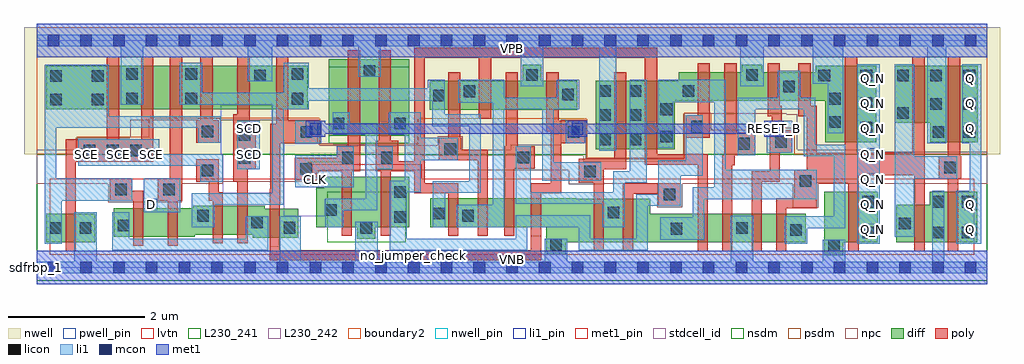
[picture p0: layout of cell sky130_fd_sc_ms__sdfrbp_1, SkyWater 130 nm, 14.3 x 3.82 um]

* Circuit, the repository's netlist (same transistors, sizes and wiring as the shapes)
* Copyright 2020 The SkyWater PDK Authors
*
* Licensed under the Apache License, Version 2.0 (the "License");
* you may not use this file except in compliance with the License.
* You may obtain a copy of the License at
*
*     https://www.apache.org/licenses/LICENSE-2.0
*
* Unless required by applicable law or agreed to in writing, software
* distributed under the License is distributed on an "AS IS" BASIS,
* WITHOUT WARRANTIES OR CONDITIONS OF ANY KIND, either express or implied.
* See the License for the specific language governing permissions and
* limitations under the License.
*
* SPDX-License-Identifier: Apache-2.0

.SUBCKT sky130_fd_sc_ms__sdfrbp_1 CLK D RESET_B SCD SCE VGND VNB VPB VPWR Q Q_N
*.PININFO CLK:I D:I RESET_B:I SCD:I SCE:I VGND:I VNB:I VPB:I VPWR:I
*.PININFO Q:O Q_N:O
MI642 clkneg CLK VGND VNB sky130_fd_pr__nfet_01v8_lvt m=1 w=0.74U l=0.15U mult=1
+ sa=0.265 sb=0.265 sd=0.28 area=0.063 perim=1.14
MI636 clkpos clkneg VGND VNB sky130_fd_pr__nfet_01v8_lvt m=1 w=0.74U l=0.15U mult=1
+ sa=0.265 sb=0.265 sd=0.28 area=0.063 perim=1.14
MI651 Q_N s0 VGND VNB sky130_fd_pr__nfet_01v8_lvt m=1 w=0.74U l=0.15U mult=1 sa=0.265
+ sb=0.265 sd=0.28 area=0.063 perim=1.14
MI42 db clkneg M0 VNB sky130_fd_pr__nfet_01v8_lvt m=1 w=0.42U l=0.15U mult=1 sa=0.265
+ sb=0.265 sd=0.28 area=0.063 perim=1.14
MI656 net138 s0 net100 VNB sky130_fd_pr__nfet_01v8_lvt m=1 w=0.42U l=0.15U mult=1
+ sa=0.265 sb=0.265 sd=0.28 area=0.063 perim=1.14
MI657 net100 RESET_B VGND VNB sky130_fd_pr__nfet_01v8_lvt m=1 w=0.42U l=0.15U mult=1
+ sa=0.265 sb=0.265 sd=0.28 area=0.063 perim=1.14
MI33 net109 RESET_B VGND VNB sky130_fd_pr__nfet_01v8_lvt m=1 w=0.42U l=0.15U mult=1
+ sa=0.265 sb=0.265 sd=0.28 area=0.063 perim=1.14
MI634 sceb SCE VGND VNB sky130_fd_pr__nfet_01v8_lvt m=1 w=0.42U l=0.15U mult=1
+ sa=0.265 sb=0.265 sd=0.28 area=0.063 perim=1.14
MI4 M0 clkpos net121 VNB sky130_fd_pr__nfet_01v8_lvt m=1 w=0.42U l=0.15U mult=1
+ sa=0.265 sb=0.265 sd=0.28 area=0.063 perim=1.14
MI34 net121 M1 net109 VNB sky130_fd_pr__nfet_01v8_lvt m=1 w=0.42U l=0.15U mult=1
+ sa=0.265 sb=0.265 sd=0.28 area=0.063 perim=1.14
MI655 s0 clkneg net124 VNB sky130_fd_pr__nfet_01v8_lvt m=1 w=0.42U l=0.15U mult=1
+ sa=0.265 sb=0.265 sd=0.28 area=0.063 perim=1.14
MI652 net209 s0 VGND VNB sky130_fd_pr__nfet_01v8_lvt m=1 w=0.55U l=0.15U mult=1
+ sa=0.265 sb=0.265 sd=0.28 area=0.063 perim=1.14
MI653 Q net209 VGND VNB sky130_fd_pr__nfet_01v8_lvt m=1 w=0.74U l=0.15U mult=1
+ sa=0.265 sb=0.265 sd=0.28 area=0.063 perim=1.14
MI654 net124 net138 VGND VNB sky130_fd_pr__nfet_01v8_lvt m=1 w=0.42U l=0.15U mult=1
+ sa=0.265 sb=0.265 sd=0.28 area=0.063 perim=1.14
MI647 M1 M0 VGND VNB sky130_fd_pr__nfet_01v8_lvt m=1 w=0.64U l=0.15U mult=1 sa=0.265
+ sb=0.265 sd=0.28 area=0.063 perim=1.14
MI649 M1 clkpos s0 VNB sky130_fd_pr__nfet_01v8_lvt m=1 w=0.64U l=0.15U mult=1 sa=0.265
+ sb=0.265 sd=0.28 area=0.063 perim=1.14
MI666 net164 RESET_B VGND VNB sky130_fd_pr__nfet_01v8_lvt m=1 w=0.42U l=0.15U mult=1
+ sa=0.265 sb=0.265 sd=0.28 area=0.525 perim=3.1
MI98 db D n0 VNB sky130_fd_pr__nfet_01v8_lvt m=1 w=0.42U l=0.15U mult=1 sa=0.265
+ sb=0.265 sd=0.28 area=0.525 perim=3.1
MI103 n1 SCD net164 VNB sky130_fd_pr__nfet_01v8_lvt m=1 w=0.42U l=0.15U mult=1
+ sa=0.265 sb=0.265 sd=0.28 area=0.525 perim=3.1
MI120 db SCE n1 VNB sky130_fd_pr__nfet_01v8_lvt m=1 w=0.42U l=0.15U mult=1 sa=0.265
+ sb=0.265 sd=0.28 area=0.525 perim=3.1
MI104 n0 sceb net164 VNB sky130_fd_pr__nfet_01v8_lvt m=1 w=0.42U l=0.15U mult=1
+ sa=0.265 sb=0.265 sd=0.28 area=0.525 perim=3.1
MI643 clkneg CLK VPWR VPB sky130_fd_pr__pfet_01v8 m=1 w=1.12U l=0.18U mult=1 sa=0.265
+ sb=0.265 sd=0.28 area=0.063 perim=1.14
MI635 clkpos clkneg VPWR VPB sky130_fd_pr__pfet_01v8 m=1 w=1.12U l=0.18U mult=1
+ sa=0.265 sb=0.265 sd=0.28 area=0.063 perim=1.14
MI43 db clkpos M0 VPB sky130_fd_pr__pfet_01v8 m=1 w=0.42U l=0.18U mult=1 sa=0.265
+ sb=0.265 sd=0.28 area=0.063 perim=1.14
MI662 net181 net138 VPWR VPB sky130_fd_pr__pfet_01v8 m=1 w=0.42U l=0.18U mult=1
+ sa=0.265 sb=0.265 sd=0.28 area=0.063 perim=1.14
MI659 net138 RESET_B VPWR VPB sky130_fd_pr__pfet_01v8 m=1 w=0.42U l=0.18U mult=1
+ sa=0.265 sb=0.265 sd=0.28 area=0.063 perim=1.14
MI664 s0 clkpos net181 VPB sky130_fd_pr__pfet_01v8 m=1 w=0.42U l=0.18U mult=1 sa=0.265
+ sb=0.265 sd=0.28 area=0.063 perim=1.14
MI658 net138 s0 VPWR VPB sky130_fd_pr__pfet_01v8 m=1 w=0.42U l=0.18U mult=1 sa=0.265
+ sb=0.265 sd=0.28 area=0.063 perim=1.14
MI30 net200 M1 VPWR VPB sky130_fd_pr__pfet_01v8 m=1 w=0.42U l=0.18U mult=1 sa=0.265
+ sb=0.265 sd=0.28 area=0.063 perim=1.14
MI31 M0 clkneg net200 VPB sky130_fd_pr__pfet_01v8 m=1 w=0.42U l=0.18U mult=1 sa=0.265
+ sb=0.265 sd=0.28 area=0.063 perim=1.14
MI32 M0 RESET_B VPWR VPB sky130_fd_pr__pfet_01v8 m=1 w=0.42U l=0.18U mult=1 sa=0.265
+ sb=0.265 sd=0.28 area=0.063 perim=1.14
MI663 net209 s0 VPWR VPB sky130_fd_pr__pfet_01v8 m=1 w=0.84U l=0.18U mult=1 sa=0.265
+ sb=0.265 sd=0.28 area=0.063 perim=1.14
MI660 Q net209 VPWR VPB sky130_fd_pr__pfet_01v8 m=1 w=1.12U l=0.18U mult=1 sa=0.265
+ sb=0.265 sd=0.28 area=0.063 perim=1.14
MI661 Q_N s0 VPWR VPB sky130_fd_pr__pfet_01v8 m=1 w=1.12U l=0.18U mult=1 sa=0.265
+ sb=0.265 sd=0.28 area=0.063 perim=1.14
MI648 M1 M0 VPWR VPB sky130_fd_pr__pfet_01v8 m=1 w=1.0U l=0.18U mult=1 sa=0.265
+ sb=0.265 sd=0.28 area=0.063 perim=1.14
MI650 M1 clkneg s0 VPB sky130_fd_pr__pfet_01v8 m=1 w=1.0U l=0.18U mult=1 sa=0.265
+ sb=0.265 sd=0.28 area=0.063 perim=1.14
MI633 sceb SCE VPWR VPB sky130_fd_pr__pfet_01v8 m=1 w=0.64U l=0.18U mult=1 sa=0.265
+ sb=0.265 sd=0.28 area=0.063 perim=1.14
MI101 db sceb p1 VPB sky130_fd_pr__pfet_01v8 m=1 w=0.64U l=0.18U mult=1 sa=0.265
+ sb=0.265 sd=0.28 area=0.063 perim=1.14
MI107 p0 SCE VPWR VPB sky130_fd_pr__pfet_01v8 m=1 w=0.64U l=0.18U mult=1 sa=0.265
+ sb=0.265 sd=0.28 area=0.063 perim=1.14
MI94 db D p0 VPB sky130_fd_pr__pfet_01v8 m=1 w=0.64U l=0.18U mult=1 sa=0.265 sb=0.265
+ sd=0.28 area=0.063 perim=1.14
MI108 p1 SCD VPWR VPB sky130_fd_pr__pfet_01v8 m=1 w=0.64U l=0.18U mult=1 sa=0.265
+ sb=0.265 sd=0.28 area=0.063 perim=1.14
MI665 db RESET_B VPWR VPB sky130_fd_pr__pfet_01v8 m=1 w=0.64U l=0.18U mult=1 sa=0.265
+ sb=0.265 sd=0.28 area=0.063 perim=1.14
.ENDS sky130_fd_sc_ms__sdfrbp_1

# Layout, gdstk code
import gdstk
lib = gdstk.Library(unit=1e-6, precision=1e-09)
def R(c, l, rs):  # rectangles x0, y0, x1, y1
    for r in rs: c.add(gdstk.rectangle(r[:2], r[2:], *l))
def A(c, l, x, y, w, h, nx, ny, dx, dy):  # array of equal rectangles
    R(c, l, [(x+i*dx, y+j*dy, x+i*dx+w, y+j*dy+h) for i in range(nx) for j in range(ny)])
def P(c, l, *ps):  # polygons
    for p in ps: c.add(gdstk.Polygon(p, *l))
nwell_pin = (64, 16)
nwell = (64, 20)
diff = (65, 20)
poly = (66, 20)
licon = (66, 44)
li1_pin = (67, 16)
li1 = (67, 20)
mcon = (67, 44)
met1_pin = (68, 16)
met1 = (68, 20)
stdcell_id = (81, 4)
nsdm = (93, 44)
psdm = (94, 20)
npc = (95, 20)
pwell_pin = (122, 16)
lvtn = (125, 44)
L230_241 = (230, 241)
L230_242 = (230, 242)
boundary2 = (236, 0)

sky130_fd_sc_ms__sdfrbp_ = lib.new_cell('sky130_fd_sc_ms__sdfrbp_1')
R(sky130_fd_sc_ms__sdfrbp_, nwell_pin, [(0,3.085,13.92,3.33)])
P(sky130_fd_sc_ms__sdfrbp_, nwell, [(14.11,3.52),(-0.19,3.52),(-0.19,1.66),(4,1.66),(4,1.675),(5.645,1.675),(5.645,1.64),(8.005,1.64),(8.005,1.555),(9.515,1.555),(9.515,1.66),(14.11,1.66)])
R(sky130_fd_sc_ms__sdfrbp_, diff, [(0.135,0.37,0.855,0.79), (4.275,1.935,5.455,3.055), (0.135,2.32,3.965,2.96)])
P(sky130_fd_sc_ms__sdfrbp_, diff, [(3.825,0.86),(3.335,0.86),(3.335,0.905),(2.29,0.905),(2.29,0.87),(1.125,0.87),(1.125,0.45),(2.315,0.45),(2.315,0.485),(3.16,0.485),(3.16,0.44),(3.825,0.44)],
  [(13.785,2.96),(12.565,2.96),(12.565,2.12),(13.085,2.12),(13.085,1.84),(13.785,1.84)],
  [(5.455,1.335),(4.215,1.335),(4.215,1.17),(4.095,1.17),(4.095,0.595),(4.69,0.595),(4.69,0.42),(4.96,0.42),(4.96,0.595),(5.455,0.595)],
  [(13.78,1.11),(13.08,1.11),(13.08,0.92),(12.59,0.92),(12.59,0.37),(13.78,0.37)],
  [(7.915,2.735),(7.39,2.735),(7.39,2.97),(7.12,2.97),(7.12,2.735),(5.755,2.735),(5.755,2.315),(7.915,2.315)],
  [(11.265,0.79),(8.985,0.79),(8.985,1.01),(7.905,1.01),(7.905,1.015),(5.76,1.015),(5.76,0.595),(7.46,0.595),(7.46,0.195),(7.75,0.195),(7.75,0.37),(11.265,0.37)],
  [(12.295,2.96),(11.41,2.96),(11.41,2.865),(10.63,2.865),(10.63,2.97),(10.325,2.97),(10.325,2.865),(9.4,2.865),(9.4,2.735),(8.185,2.735),(8.185,1.735),(9.345,1.735),(9.345,2.445),(11.55,2.445),(11.55,1.84),(12.295,1.84)],
  [(12.32,1.11),(11.535,1.11),(11.535,0.18),(11.815,0.18),(11.815,0.37),(12.32,0.37)])
P(sky130_fd_sc_ms__sdfrbp_, poly, [(1.56,1.13),(1.395,1.13),(1.395,1.31),(1.065,1.31),(1.065,0.98),(1.41,0.98),(1.41,0.32),(1.56,0.32)],
  [(1.705,3.09),(1.525,3.09),(1.525,1.88),(1.205,1.88),(1.205,3.09),(1.025,3.09),(1.025,1.88),(0.42,1.88),(0.42,0.24),(0.57,0.24),(0.57,1.55),(1.705,1.55)],
  [(2.125,3.09),(1.945,3.09),(1.945,1.31),(1.77,1.31),(1.77,0.98),(1.915,0.98),(1.915,0.32),(2.065,0.32),(2.065,0.98),(2.125,0.98)],
  [(13.005,3.09),(12.825,3.09),(12.825,1.685),(12.015,1.685),(12.015,3.09),(11.835,3.09),(11.835,1.685),(11.425,1.685),(11.425,2.37),(11.335,2.37),(11.335,2.995),(11.155,2.995),(11.155,2.22),(11.275,2.22),(11.275,1.435),(11.095,1.435),(11.095,1.02),(10.83,1.02),(10.83,0.24),(10.98,0.24),(10.98,0.87),(11.425,0.87),(11.425,1.235),(11.89,1.235),(11.89,0.24),(12.04,0.24),(12.04,1.355),(12.855,1.355),(12.855,0.24),(13.005,0.24)],
  [(2.665,2.16),(2.575,2.16),(2.575,3.09),(2.395,3.09),(2.395,2.16),(2.335,2.16),(2.335,1.83),(2.665,1.83)],
  [(2.725,1.105),(2.665,1.105),(2.665,1.59),(2.335,1.59),(2.335,1.26),(2.515,1.26),(2.515,0.98),(2.575,0.98),(2.575,0.355),(2.725,0.355)],
  [(13.545,1.63),(13.525,1.63),(13.525,3.09),(13.345,3.09),(13.345,1.63),(13.215,1.63),(13.215,1.3),(13.345,1.3),(13.345,0.24),(13.495,0.24),(13.495,1.3),(13.545,1.3)],
  [(3.205,2.11),(3.115,2.11),(3.115,3.09),(2.935,3.09),(2.935,2.245),(2.875,2.245),(2.875,1.255),(2.935,1.255),(2.935,0.355),(3.085,0.355),(3.085,1.44),(3.205,1.44)],
  [(4.735,3.185),(4.555,3.185),(4.555,1.775),(4.395,1.775),(4.395,1.61),(3.775,1.61),(3.775,1.28),(4.105,1.28),(4.105,1.41),(4.465,1.41),(4.465,0.465),(4.615,0.465),(4.615,1.41),(4.735,1.41)],
  [(10.525,1.98),(10.25,1.98),(10.25,2.995),(10.07,2.995),(10.07,1.65),(10.04,1.65),(10.04,0.24),(10.19,0.24),(10.19,1.5),(10.22,1.5),(10.22,1.65),(10.525,1.65)],
  [(6.605,1.725),(6.22,1.725),(6.22,1.905),(6.205,1.905),(6.205,2.865),(6.025,2.865),(6.025,1.905),(5.89,1.905),(5.89,1.575),(6.455,1.575),(6.455,0.465),(6.605,0.465)],
  [(7.29,1.78),(7.045,1.78),(7.045,2.865),(6.865,2.865),(6.865,1.78),(6.845,1.78),(6.845,0.465),(6.995,0.465),(6.995,1.45),(7.29,1.45)],
  [(8.025,2.15),(7.645,2.15),(7.645,2.865),(7.465,2.865),(7.465,2),(7.53,2),(7.53,1.24),(7.235,1.24),(7.235,0.255),(3.56,0.255),(3.56,0.935),(3.565,0.935),(3.565,1.82),(4.115,1.82),(4.115,2.15),(3.685,2.15),(3.685,3.09),(3.505,3.09),(3.505,2.11),(3.415,2.11),(3.415,1.145),(3.41,1.145),(3.41,0.105),(7.385,0.105),(7.385,1.09),(7.68,1.09),(7.68,1.82),(8.025,1.82)],
  [(8.635,2.865),(8.455,2.865),(8.455,1.595),(7.94,1.595),(7.94,1.245),(8.155,1.245),(8.155,0.24),(8.305,0.24),(8.305,1.445),(8.635,1.445)],
  [(9.435,1.235),(8.585,1.235),(8.585,0.24),(8.735,0.24),(8.735,1.085),(9.105,1.085),(9.105,0.905),(9.435,0.905)],
  [(9.83,1.66),(9.085,1.66),(9.085,3.225),(5.53,3.225),(5.53,1.56),(5.295,1.56),(5.295,1.86),(5.185,1.86),(5.185,3.185),(5.005,3.185),(5.005,1.86),(4.965,1.86),(4.965,1.41),(5.035,1.41),(5.035,0.465),(5.185,0.465),(5.185,1.41),(5.53,1.41),(5.53,1.09),(6.025,1.09),(6.025,0.465),(6.175,0.465),(6.175,1.24),(5.68,1.24),(5.68,3.075),(6.475,3.075),(6.475,2.185),(6.655,2.185),(6.655,3.075),(8.905,3.075),(8.905,1.51),(9.68,1.51),(9.68,0.24),(9.83,0.24)],
  [(11.065,2.01),(10.915,2.01),(10.915,2.37),(10.885,2.37),(10.885,2.995),(10.705,2.995),(10.705,2.22),(10.765,2.22),(10.765,2.01),(10.735,2.01),(10.735,1.41),(10.47,1.41),(10.47,0.24),(10.62,0.24),(10.62,1.26),(10.885,1.26),(10.885,1.68),(11.065,1.68)],
  [(9.86,2.995),(9.68,2.995),(9.68,2.23),(9.505,2.23),(9.505,1.9),(9.86,1.9)])
A(sky130_fd_sc_ms__sdfrbp_, licon, 0.685, 1.63, 0.17, 0.17, 3, 1, 0.34, 0)
A(sky130_fd_sc_ms__sdfrbp_, licon, 8.235, 1.795, 0.17, 0.17, 1, 3, 0, 0.355)
A(sky130_fd_sc_ms__sdfrbp_, licon, 8.685, 1.795, 0.17, 0.17, 1, 3, 0, 0.355)
A(sky130_fd_sc_ms__sdfrbp_, licon, 12.605, 2.73, 0.17, 0.17, 3, 1, 0.485, 0)
R(sky130_fd_sc_ms__sdfrbp_, licon, [(11.59,0.24,11.76,0.41), (7.52,0.255,7.69,0.425), (12.095,0.43,12.265,0.6), (13.12,0.43,13.29,0.6), (13.55,0.43,13.72,0.6), (11.035,0.465,11.205,0.635), (9.285,0.485,9.455,0.655), (0.195,0.495,0.365,0.665), (0.625,0.495,0.795,0.665), (10.245,0.495,10.415,0.665), (3.615,0.5,3.785,0.67), (4.74,0.5,4.91,0.67), (1.185,0.535,1.355,0.705), (12.63,0.56,12.8,0.73), (3.14,0.58,3.31,0.75), (5.235,0.655,5.405,0.825), (2.35,0.675,2.52,0.845), (6.23,0.675,6.4,0.845), (5.8,0.71,5.97,0.88), (8.36,0.725,8.53,0.895), (4.225,0.76,4.395,0.93), (12.095,0.88,12.265,1.05), (13.12,0.88,13.29,1.05), (13.55,0.88,13.72,1.05), (9.185,0.985,9.355,1.155), (5.235,1.025,5.405,1.195), (1.145,1.06,1.315,1.23), (1.85,1.06,2.02,1.23), (11.175,1.185,11.345,1.355), (8.02,1.325,8.19,1.495), (2.415,1.34,2.585,1.51), (3.855,1.36,4.025,1.53), (13.295,1.38,13.465,1.55), (2.955,1.52,3.125,1.69), (4.475,1.525,4.645,1.695), (5.045,1.525,5.215,1.695), (7.04,1.53,7.21,1.7), (5.97,1.655,6.14,1.825), (10.275,1.73,10.445,1.9), (10.815,1.76,10.985,1.93), (9.135,1.835,9.305,2.005), (2.955,1.86,3.125,2.03), (3.865,1.9,4.035,2.07), (7.775,1.9,7.945,2.07), (13.125,1.9,13.295,2.07), (13.575,1.9,13.745,2.07), (2.415,1.91,2.585,2.08), (12.065,1.97,12.235,2.14), (9.585,1.98,9.755,2.15), (4.335,2.025,4.505,2.195), (5.235,2.025,5.405,2.195), (11.61,2.05,11.78,2.22), (12.605,2.18,12.775,2.35), (9.135,2.235,9.305,2.405), (13.09,2.315,13.26,2.485), (13.575,2.315,13.745,2.485), (12.065,2.33,12.235,2.5), (0.195,2.38,0.365,2.55), (0.805,2.38,0.975,2.55), (1.305,2.39,1.475,2.56), (2.175,2.39,2.345,2.56), (3.735,2.39,3.905,2.56), (11.61,2.39,11.78,2.56), (5.805,2.44,5.975,2.61), (7.695,2.45,7.865,2.62), (6.255,2.5,6.425,2.67), (9.46,2.505,9.63,2.675), (10.935,2.57,11.105,2.74), (0.195,2.725,0.365,2.895), (0.805,2.725,0.975,2.895), (3.18,2.73,3.35,2.9), (11.45,2.73,11.62,2.9), (12.065,2.73,12.235,2.9), (7.17,2.74,7.34,2.91), (10.39,2.74,10.56,2.91), (1.305,2.75,1.475,2.92), (2.175,2.75,2.345,2.92), (3.735,2.75,3.905,2.92), (4.785,2.795,4.955,2.965)])
A(sky130_fd_sc_ms__sdfrbp_, li1_pin, 12.155, 0.47, 0.17, 0.17, 1, 7, 0, 0.37)
A(sky130_fd_sc_ms__sdfrbp_, li1_pin, 0.635, 1.58, 0.17, 0.17, 3, 1, 0.48, 0)
A(sky130_fd_sc_ms__sdfrbp_, li1_pin, 13.595, 1.95, 0.17, 0.17, 1, 3, 0, 0.37)
R(sky130_fd_sc_ms__sdfrbp_, li1_pin, [(13.595,0.47,13.765,0.64), (1.595,0.84,1.765,1.01), (13.595,0.84,13.765,1.01), (3.995,1.21,4.165,1.38), (3.035,1.58,3.205,1.75), (3.035,1.95,3.205,2.12)])
R(sky130_fd_sc_ms__sdfrbp_, li1, [(12.015,0.35,12.345,2.98), (1.565,0.81,2.1,1.31), (2.935,1.44,3.265,2.15), (10.695,1.685,11.065,2.15), (3.785,1.82,4.165,2.15), (7.745,1.82,8.035,2.15)])
P(sky130_fd_sc_ms__sdfrbp_, li1, [(2.695,2.22),(1.055,2.22),(1.055,2.975),(0.115,2.975),(0.115,0.35),(0.365,0.35),(0.365,0.98),(1.395,0.98),(1.395,1.31),(0.285,1.31),(0.285,2.05),(2.365,2.05),(2.365,1.83),(2.695,1.83)],
  [(2.725,1.66),(1.795,1.66),(1.795,1.88),(0.605,1.88),(0.605,1.49),(2.395,1.49),(2.395,1.26),(2.725,1.26)],
  [(3.39,0.75),(3.06,0.75),(3.06,0.425),(1.355,0.425),(1.355,0.81),(1.105,0.81),(1.105,0.255),(3.39,0.255)],
  [(11.845,1.8),(11.405,1.8),(11.405,2.49),(11.185,2.49),(11.185,2.885),(10.855,2.885),(10.855,2.49),(10.265,2.49),(10.265,1.65),(10.525,1.65),(10.525,2.32),(11.235,2.32),(11.235,1.63),(11.675,1.63),(11.675,0.75),(10.955,0.75),(10.955,0.35),(11.285,0.35),(11.285,0.58),(11.845,0.58)],
  [(13.835,2.98),(13.555,2.98),(13.555,1.82),(13.665,1.82),(13.665,1.13),(13.47,1.13),(13.47,0.35),(13.835,0.35)],
  [(13.92,0.085),(13.29,0.085),(13.29,1.13),(13.12,1.13),(13.12,0.085),(11.84,0.085),(11.84,0.41),(11.51,0.41),(11.51,0.085),(10.495,0.085),(10.495,0.76),(10.165,0.76),(10.165,0.085),(7.77,0.085),(7.77,0.425),(7.44,0.425),(7.44,0.085),(4.99,0.085),(4.99,0.67),(4.66,0.67),(4.66,0.085),(3.865,0.085),(3.865,0.75),(3.56,0.75),(3.56,0.085),(0.875,0.085),(0.875,0.81),(0.545,0.81),(0.545,0.085),(0,0.085),(0,-0.085),(13.92,-0.085)],
  [(4.645,1.775),(4.395,1.775),(4.395,1.65),(3.785,1.65),(3.785,1.18),(4.645,1.18)],
  [(11.425,1.435),(10.095,1.435),(10.095,2.755),(9.105,2.755),(9.105,1.755),(9.325,1.755),(9.325,2.425),(9.925,2.425),(9.925,1.175),(9.605,1.175),(9.605,0.735),(9.135,0.735),(9.135,0.405),(9.775,0.405),(9.775,1.005),(11.425,1.005)],
  [(5.215,1.775),(4.985,1.775),(4.985,2.115),(4.585,2.115),(4.585,2.275),(4.335,2.275),(4.335,1.945),(4.815,1.945),(4.815,1.01),(4.225,1.01),(4.225,0.595),(4.49,0.595),(4.49,0.84),(4.985,0.84),(4.985,1.445),(5.215,1.445)],
  [(6.505,2.245),(5.975,2.245),(5.975,2.755),(5.725,2.755),(5.725,2.625),(3.985,2.625),(3.985,3),(3.615,3),(3.615,2.56),(2.425,2.56),(2.425,3),(2.095,3),(2.095,2.39),(3.445,2.39),(3.445,1.09),(2.27,1.09),(2.27,0.595),(2.6,0.595),(2.6,0.92),(3.615,0.92),(3.615,2.32),(3.985,2.32),(3.985,2.445),(5.79,2.445),(5.79,2.075),(6.335,2.075),(6.335,1.265),(5.8,1.265),(5.8,0.595),(5.98,0.595),(5.98,1.095),(6.505,1.095)],
  [(13.92,3.415),(0,3.415),(0,3.245),(1.225,3.245),(1.225,2.39),(1.555,2.39),(1.555,3.245),(3.085,3.245),(3.085,2.73),(3.445,2.73),(3.445,3.245),(4.705,3.245),(4.705,2.795),(5.035,2.795),(5.035,3.245),(7.09,3.245),(7.09,2.66),(7.42,2.66),(7.42,3.245),(8.235,3.245),(8.235,1.715),(8.485,1.715),(8.485,3.245),(10.305,3.245),(10.305,2.66),(10.65,2.66),(10.65,3.245),(11.37,3.245),(11.37,2.695),(11.585,2.695),(11.585,1.97),(11.815,1.97),(11.815,3.245),(13.045,3.245),(13.045,1.82),(13.325,1.82),(13.325,3.245),(13.92,3.245)],
  [(13.485,1.63),(12.855,1.63),(12.855,2.98),(12.57,2.98),(12.57,0.455),(12.855,0.455),(12.855,1.3),(13.485,1.3)],
  [(8.27,1.545),(7.575,1.545),(7.575,2.32),(7.945,2.32),(7.945,2.755),(7.615,2.755),(7.615,2.49),(6.845,2.49),(6.845,2.755),(6.175,2.755),(6.175,2.415),(6.675,2.415),(6.675,0.925),(6.15,0.925),(6.15,0.595),(6.845,0.595),(6.845,2.32),(7.405,2.32),(7.405,1.275),(8.27,1.275)],
  [(8.935,2.755),(8.685,2.755),(8.685,1.415),(8.44,1.415),(8.44,1.105),(7.235,1.105),(7.235,1.78),(7.015,1.78),(7.015,0.935),(8.28,0.935),(8.28,0.595),(8.61,0.595),(8.61,1.245),(8.935,1.245)],
  [(9.755,2.23),(9.505,2.23),(9.505,1.575),(9.105,1.575),(9.105,1.075),(8.78,1.075),(8.78,0.425),(8.11,0.425),(8.11,0.765),(7.015,0.765),(7.015,0.425),(5.42,0.425),(5.42,1.105),(5.62,1.105),(5.62,1.575),(6.165,1.575),(6.165,1.905),(5.62,1.905),(5.62,2.275),(5.155,2.275),(5.155,1.945),(5.385,1.945),(5.385,1.275),(5.17,1.275),(5.17,0.255),(7.185,0.255),(7.185,0.595),(7.94,0.595),(7.94,0.255),(8.95,0.255),(8.95,0.905),(9.435,0.905),(9.435,1.345),(9.755,1.345)])
A(sky130_fd_sc_ms__sdfrbp_, mcon, 0.155, -0.085, 0.17, 0.17, 29, 2, 0.48, 3.33)
R(sky130_fd_sc_ms__sdfrbp_, mcon, [(3.995,1.95,4.165,2.12), (7.835,1.95,8.005,2.12), (10.715,1.95,10.885,2.12)])
R(sky130_fd_sc_ms__sdfrbp_, met1_pin, [(0,0,13.92,0.245), (10.715,1.95,10.885,2.12), (0,3.085,13.92,3.33)])
R(sky130_fd_sc_ms__sdfrbp_, met1, [(0,-0.245,13.92,0.245), (0,3.085,13.92,3.575)])
P(sky130_fd_sc_ms__sdfrbp_, met1, [(10.945,2.15),(10.655,2.15),(10.655,2.105),(8.065,2.105),(8.065,2.15),(7.775,2.15),(7.775,2.105),(4.225,2.105),(4.225,2.15),(3.935,2.15),(3.935,1.92),(4.225,1.92),(4.225,1.965),(7.775,1.965),(7.775,1.92),(8.065,1.92),(8.065,1.965),(10.655,1.965),(10.655,1.92),(10.945,1.92)])
R(sky130_fd_sc_ms__sdfrbp_, stdcell_id, [(0,0,13.92,3.33)])
P(sky130_fd_sc_ms__sdfrbp_, nsdm, [(13.92,1.66),(9.475,1.66),(9.475,1.605),(8.055,1.605),(8.055,1.66),(0,1.66),(0,-0.19),(13.92,-0.19)])
P(sky130_fd_sc_ms__sdfrbp_, psdm, [(13.92,3.52),(0,3.52),(0,1.66),(0.575,1.66),(0.575,1.91),(1.645,1.91),(1.645,2.19),(4.145,2.19),(4.145,1.805),(5.585,1.805),(5.585,2.185),(8.055,2.185),(8.055,1.605),(9.475,1.605),(9.475,2.26),(9.875,2.26),(9.875,2.01),(10.705,2.01),(10.705,2.04),(11.095,2.04),(11.095,1.66),(13.92,1.66)])
P(sky130_fd_sc_ms__sdfrbp_, npc, [(13.92,1.7),(12.425,1.7),(12.425,1.73),(11.14,1.73),(11.14,2.245),(10.98,2.245),(10.98,2.265),(9.485,2.265),(9.485,1.595),(8.045,1.595),(8.045,2.17),(7.675,2.17),(7.675,1.8),(6.94,1.8),(6.94,1.73),(6.24,1.73),(6.24,1.925),(5.87,1.925),(5.87,1.795),(4.135,1.795),(4.135,2.17),(2.685,2.17),(2.685,2.19),(2.345,2.19),(2.345,2.165),(1.37,2.165),(1.37,1.9),(0.585,1.9),(0.585,1.73),(0,1.73),(0,1.23),(1.045,1.23),(1.045,0.96),(2.12,0.96),(2.12,1.23),(2.72,1.23),(2.72,1.26),(4.125,1.26),(4.125,1.425),(7.795,1.425),(7.795,1.225),(8.29,1.225),(8.29,1.23),(9.085,1.23),(9.085,0.885),(9.455,0.885),(9.455,1.23),(11.075,1.23),(11.075,0.88),(11.445,0.88),(11.445,1.23),(13.92,1.23)])
R(sky130_fd_sc_ms__sdfrbp_, pwell_pin, [(0,0,13.92,0.245)])
R(sky130_fd_sc_ms__sdfrbp_, lvtn, [(0.19,0.19,13.73,1.3), (4.035,1.17,5.635,1.515)])
R(sky130_fd_sc_ms__sdfrbp_, L230_241, [(4.25,0.37,5.4,1.11), (3.965,1.18,4.645,1.55), (2.935,1.44,3.265,2.15), (3.785,1.82,4.165,2.15), (4.275,1.82,5.455,2.94), (7.745,1.82,8.035,2.15)])
P(sky130_fd_sc_ms__sdfrbp_, L230_242, [(3.41,0.31),(3.41,0.105),(7.385,0.105),(7.385,0.465),(7.235,0.465),(7.235,0.255),(3.56,0.255),(3.56,0.31)],
  [(4.815,1.8),(4.335,1.8),(4.335,1.82),(3.615,1.82),(3.615,0.75),(4.225,0.75),(4.225,1.01),(4.815,1.01)],
  [(3.445,2.39),(2.695,2.39),(2.695,1.66),(2.725,1.66),(2.725,1.09),(3.445,1.09)])
R(sky130_fd_sc_ms__sdfrbp_, boundary2, [(0,0,13.92,3.33)])
sky130_fd_sc_ms__sdfrbp_.add(gdstk.Label('VNB', (6.96,0.123), layer=64, texttype=59))
sky130_fd_sc_ms__sdfrbp_.add(gdstk.Label('VPB', (6.96,3.208), layer=64, texttype=5))
sky130_fd_sc_ms__sdfrbp_.add(gdstk.Label('sdfrbp_1', (0,0), layer=83, texttype=44))
sky130_fd_sc_ms__sdfrbp_.add(gdstk.Label('no_jumper_check', (7.49,3.15), layer=83, texttype=44))
sky130_fd_sc_ms__sdfrbp_.add(gdstk.Label('no_jumper_check', (5.51,0.18), layer=83, texttype=44))
sky130_fd_sc_ms__sdfrbp_.add(gdstk.Label('RESET_B', (10.8,2.035), layer=68, texttype=5))
sky130_fd_sc_ms__sdfrbp_.add(gdstk.Label('VPWR', (6.96,3.208), layer=68, texttype=5))
sky130_fd_sc_ms__sdfrbp_.add(gdstk.Label('VGND', (6.96,0.123), layer=68, texttype=5))
sky130_fd_sc_ms__sdfrbp_.add(gdstk.Label('Q_N', (12.24,2.035), layer=67, texttype=5))
sky130_fd_sc_ms__sdfrbp_.add(gdstk.Label('Q_N', (12.24,2.405), layer=67, texttype=5))
sky130_fd_sc_ms__sdfrbp_.add(gdstk.Label('Q_N', (12.24,2.775), layer=67, texttype=5))
sky130_fd_sc_ms__sdfrbp_.add(gdstk.Label('SCE', (0.72,1.665), layer=67, texttype=5))
sky130_fd_sc_ms__sdfrbp_.add(gdstk.Label('SCE', (1.2,1.665), layer=67, texttype=5))
sky130_fd_sc_ms__sdfrbp_.add(gdstk.Label('SCE', (1.68,1.665), layer=67, texttype=5))
sky130_fd_sc_ms__sdfrbp_.add(gdstk.Label('CLK', (4.08,1.295), layer=67, texttype=5))
sky130_fd_sc_ms__sdfrbp_.add(gdstk.Label('SCD', (3.12,1.665), layer=67, texttype=5))
sky130_fd_sc_ms__sdfrbp_.add(gdstk.Label('SCD', (3.12,2.035), layer=67, texttype=5))
sky130_fd_sc_ms__sdfrbp_.add(gdstk.Label('D', (1.68,0.925), layer=67, texttype=5))
sky130_fd_sc_ms__sdfrbp_.add(gdstk.Label('Q', (13.68,0.925), layer=67, texttype=5))
sky130_fd_sc_ms__sdfrbp_.add(gdstk.Label('Q', (13.68,2.035), layer=67, texttype=5))
sky130_fd_sc_ms__sdfrbp_.add(gdstk.Label('Q', (13.68,2.405), layer=67, texttype=5))
sky130_fd_sc_ms__sdfrbp_.add(gdstk.Label('Q', (13.68,2.775), layer=67, texttype=5))
sky130_fd_sc_ms__sdfrbp_.add(gdstk.Label('Q', (13.68,0.555), layer=67, texttype=5))
sky130_fd_sc_ms__sdfrbp_.add(gdstk.Label('Q_N', (12.24,0.555), layer=67, texttype=5))
sky130_fd_sc_ms__sdfrbp_.add(gdstk.Label('Q_N', (12.24,0.925), layer=67, texttype=5))
sky130_fd_sc_ms__sdfrbp_.add(gdstk.Label('Q_N', (12.24,1.295), layer=67, texttype=5))
sky130_fd_sc_ms__sdfrbp_.add(gdstk.Label('Q_N', (12.24,1.665), layer=67, texttype=5))

lib.write_gds('sky130_fd_sc_ms__sdfrbp_1.gds')
